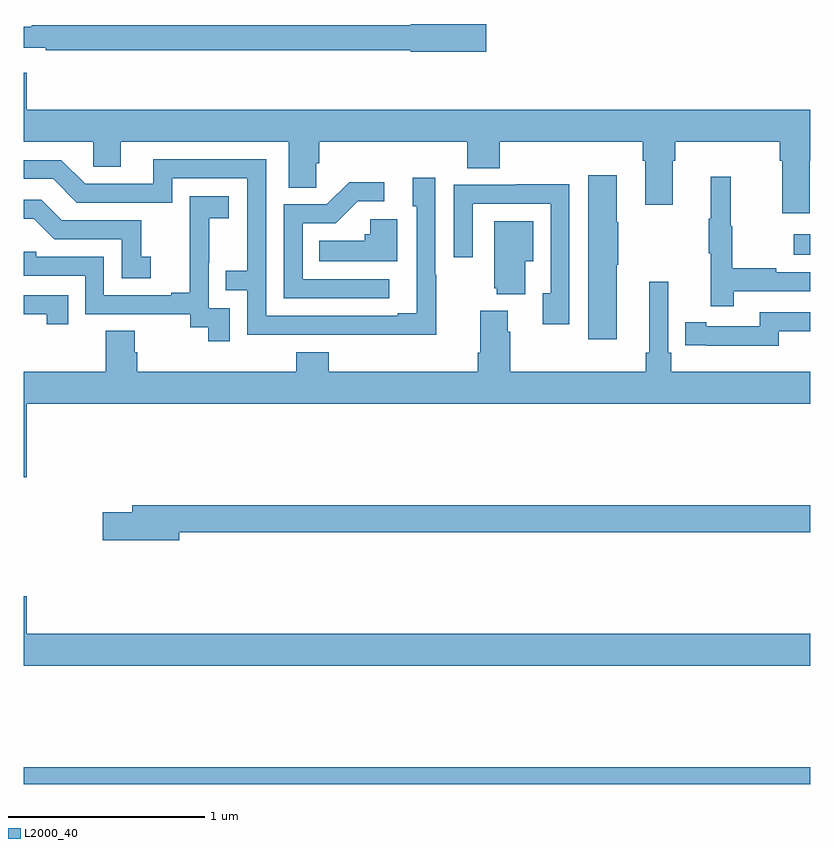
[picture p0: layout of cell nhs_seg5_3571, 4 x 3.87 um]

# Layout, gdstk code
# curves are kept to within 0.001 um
import gdstk
lib = gdstk.Library(unit=1e-6, precision=1e-09)
def R(c, l, rs):  # rectangles x0, y0, x1, y1
    for r in rs: c.add(gdstk.rectangle(r[:2], r[2:], *l))
def P(c, l, *ps):  # polygons
    for p in ps: c.add(gdstk.Polygon(p, *l))
L2000_40 = (2000, 40)

nhs_seg5_3571 = lib.new_cell('nhs_seg5_3571')
R(nhs_seg5_3571, L2000_40, [(321,882.799,325,882.884), (324.915,885.491,325,885.595)])
P(nhs_seg5_3571, L2000_40, [(323.353,886.664),(322.968,886.664),(322.968,886.658),(321.041,886.658),(321.041,886.651),(321,886.651),(321,886.542),(321.112,886.542),(321.112,886.53),(322.968,886.53),(322.968,886.522),(323.353,886.522)],
  [(324.997,885.968),(325,885.968),(325,886.228),(321.016,886.228),(321.016,886.417),(321,886.417),(321,886.064),(321.354,886.064),(321.354,885.937),(321.493,885.937),(321.493,886.064),(322.349,886.064),(322.349,885.832),(322.488,885.832),(322.488,885.955),(322.502,885.955),(322.502,886.064),(323.255,886.064),(323.255,885.931),(323.42,885.931),(323.42,886.064),(324.149,886.064),(324.149,885.968),(324.161,885.968),(324.161,885.744),(324.301,885.744),(324.301,885.968),(324.314,885.968),(324.314,886.064),(324.845,886.064),(324.845,885.968),(324.857,885.968),(324.857,885.702),(324.997,885.702)],
  [(323.097,885.389),(323.094,885.389),(323.094,885.883),(322.979,885.883),(322.979,885.738),(322.998,885.738),(322.998,885.193),(322.901,885.193),(322.901,885.18),(322.233,885.18),(322.233,885.975),(321.659,885.975),(321.659,885.852),(321.312,885.852),(321.192,885.972),(321,885.972),(321,885.876),(321.15,885.876),(321.27,885.756),(321.756,885.756),(321.756,885.879),(322.137,885.879),(322.137,885.41),(322.027,885.41),(322.027,885.309),(322.137,885.309),(322.137,885.084),(323.097,885.083)],
  [(324.016,885.439),(324.024,885.439),(324.024,885.656),(324.016,885.656),(324.016,885.895),(323.87,885.895),(323.87,885.06),(324.016,885.06)],
  [(324.611,885.306),(325,885.306),(325,885.402),(324.827,885.402),(324.827,885.422),(324.604,885.422),(324.604,885.636),(324.596,885.636),(324.596,885.886),(324.494,885.886),(324.494,885.673),(324.483,885.673),(324.483,885.499),(324.494,885.499),(324.494,885.228),(324.611,885.228)],
  [(322.858,885.366),(322.419,885.366),(322.419,885.651),(322.588,885.651),(322.699,885.762),(322.834,885.762),(322.834,885.86),(322.655,885.86),(322.542,885.747),(322.323,885.747),(322.323,885.27),(322.858,885.27)],
  [(323.775,885.848),(323.503,885.848),(323.503,885.846),(323.187,885.846),(323.187,885.477),(323.283,885.477),(323.283,885.75),(323.679,885.75),(323.679,885.294),(323.639,885.294),(323.639,885.138),(323.775,885.138)],
  [(322.047,885.219),(321.942,885.219),(321.942,885.449),(321.944,885.449),(321.944,885.677),(322.042,885.677),(322.042,885.787),(321.844,885.787),(321.844,885.581),(321.845,885.581),(321.845,885.298),(321.749,885.298),(321.749,885.285),(321.408,885.285),(321.408,885.48),(321.063,885.48),(321.063,885.507),(321,885.507),(321,885.384),(321.312,885.384),(321.312,885.189),(321.846,885.189),(321.846,885.121),(321.939,885.121),(321.939,885.051),(322.047,885.051)],
  [(321.646,885.481),(321.597,885.481),(321.597,885.666),(321.193,885.666),(321.088,885.771),(321,885.771),(321,885.674),(321.052,885.674),(321.156,885.57),(321.498,885.57),(321.498,885.372),(321.646,885.372)],
  [(322.9,885.67),(322.761,885.67),(322.761,885.594),(322.735,885.594),(322.735,885.562),(322.504,885.562),(322.504,885.458),(322.9,885.458)],
  [(323.551,885.458),(323.59,885.458),(323.59,885.661),(323.393,885.661),(323.393,885.321),(323.405,885.321),(323.405,885.29),(323.551,885.29)],
  [(321.016,884.732),(325,884.732),(325,884.896),(324.293,884.896),(324.293,884.992),(324.279,884.992),(324.279,885.352),(324.182,885.352),(324.182,884.992),(324.163,884.992),(324.163,884.896),(323.474,884.896),(323.474,885.098),(323.461,885.098),(323.461,885.205),(323.321,885.205),(323.321,884.992),(323.309,884.992),(323.309,884.896),(322.55,884.896),(322.55,884.995),(322.385,884.995),(322.385,884.896),(321.578,884.896),(321.578,884.994),(321.565,884.994),(321.565,885.104),(321.418,885.104),(321.418,884.896),(321,884.896),(321,884.358),(321.016,884.358)],
  [(321.227,885.285),(321,885.285),(321,885.189),(321.116,885.189),(321.116,885.138),(321.227,885.138)],
  [(324.84,885.102),(325,885.102),(325,885.198),(324.744,885.198),(324.744,885.126),(324.472,885.126),(324.472,885.146),(324.364,885.146),(324.364,885.03),(324.472,885.03),(324.472,885.029),(324.84,885.029)],
  [(321.79,884.08),(325,884.08),(325,884.216),(321.551,884.216),(321.551,884.18),(321.402,884.18),(321.402,884.038),(321.79,884.038)],
  [(325,883.564),(321.016,883.564),(321.016,883.753),(321,883.753),(321,883.4),(325,883.4)])

lib.write_gds('nhs_seg5_3571.gds')
